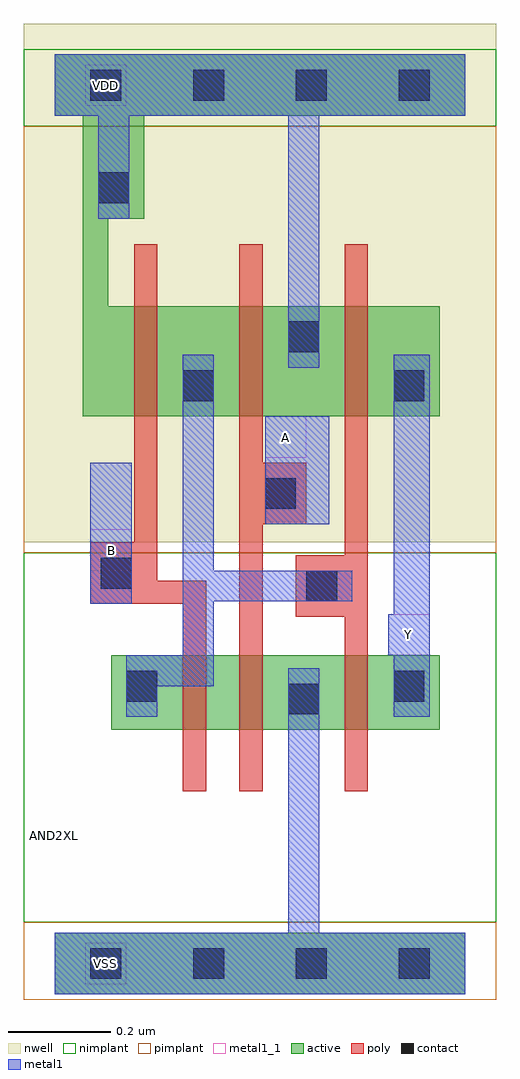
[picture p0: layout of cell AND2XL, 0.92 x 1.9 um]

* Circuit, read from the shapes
.subckt AND2XL A B VDD VSS Y
M1 n1 B n2 VSS nfet w=0.145u l=0.045u
M2 VSS A n1 VSS nfet w=0.145u l=0.045u
M3 Y n2 VSS VSS nfet w=0.145u l=0.045u
M4 n2 B VDD VDD pfet w=0.215u l=0.045u
M5 VDD A n2 VDD pfet w=0.215u l=0.045u
M6 Y n2 VDD VDD pfet w=0.215u l=0.045u
.ends

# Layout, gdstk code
import gdstk
lib = gdstk.Library(unit=1e-6, precision=5e-10)
def R(c, l, rs):  # rectangles x0, y0, x1, y1
    for r in rs: c.add(gdstk.rectangle(r[:2], r[2:], *l))
def A(c, l, x, y, w, h, nx, ny, dx, dy):  # array of equal rectangles
    R(c, l, [(x+i*dx, y+j*dy, x+i*dx+w, y+j*dy+h) for i in range(nx) for j in range(ny)])
def P(c, l, *ps):  # polygons
    for p in ps: c.add(gdstk.Polygon(p, *l))
active = (1, 0)
nwell = (2, 0)
poly = (3, 0)
nimplant = (4, 0)
pimplant = (5, 0)
contact = (6, 0)
metal1 = (7, 0)
metal1_1 = (7, 1)

and2xl = lib.new_cell('AND2XL')
R(and2xl, active, [(0,-0.06,0.8,0.06), (0.11,0.455,0.75,0.6)])
P(and2xl, active, [(0.8,1.77),(0,1.77),(0,1.65),(0.055,1.65),(0.055,1.065),(0.75,1.065),(0.75,1.28),(0.105,1.28),(0.105,1.45),(0.175,1.45),(0.175,1.65),(0.8,1.65)])
R(and2xl, nwell, [(-0.06,0.82,0.86,1.83)])
P(and2xl, poly, [(0.155,1.4),(0.2,1.4),(0.2,0.745),(0.295,0.745),(0.295,0.335),(0.25,0.335),(0.25,0.7),(0.07,0.7),(0.07,0.82),(0.155,0.82)],
  [(0.36,1.4),(0.405,1.4),(0.405,0.975),(0.49,0.975),(0.49,0.855),(0.405,0.855),(0.405,0.335),(0.36,0.335)],
  [(0.565,1.4),(0.61,1.4),(0.61,0.335),(0.565,0.335),(0.565,0.675),(0.47,0.675),(0.47,0.795),(0.565,0.795)])
R(and2xl, nimplant, [(-0.06,0.08,0.86,0.8), (-0.06,1.63,0.86,1.78)])
R(and2xl, pimplant, [(-0.06,-0.07,0.86,0.08), (-0.06,0.8,0.86,1.63)])
A(and2xl, contact, 0.07, -0.03, 0.06, 0.06, 4, 2, 0.2, 1.71)
R(and2xl, contact, [(0.455,0.485,0.515,0.545), (0.14,0.51,0.2,0.57), (0.66,0.51,0.72,0.57), (0.49,0.705,0.55,0.765), (0.09,0.73,0.15,0.79), (0.41,0.885,0.47,0.945), (0.25,1.095,0.31,1.155), (0.66,1.095,0.72,1.155), (0.455,1.19,0.515,1.25), (0.085,1.48,0.145,1.54)])
R(and2xl, metal1, [(0.07,0.7,0.15,0.975), (0.41,0.855,0.535,1.065)])
P(and2xl, metal1, [(0.455,0.575),(0.515,0.575),(0.515,0.06),(0.8,0.06),(0.8,-0.06),(0,-0.06),(0,0.06),(0.455,0.06)],
  [(0,1.77),(0.8,1.77),(0.8,1.65),(0.515,1.65),(0.515,1.16),(0.455,1.16),(0.455,1.65),(0.145,1.65),(0.145,1.45),(0.085,1.45),(0.085,1.65),(0,1.65)],
  [(0.25,1.185),(0.31,1.185),(0.31,0.765),(0.58,0.765),(0.58,0.705),(0.31,0.705),(0.31,0.54),(0.2,0.54),(0.2,0.48),(0.14,0.48),(0.14,0.6),(0.25,0.6)],
  [(0.66,1.185),(0.73,1.185),(0.73,0.48),(0.66,0.48),(0.66,0.6),(0.65,0.6),(0.65,0.68),(0.66,0.68)])
R(and2xl, metal1_1, [(0.06,-0.04,0.14,0.04), (0.65,0.6,0.73,0.68), (0.07,0.765,0.15,0.845), (0.41,0.985,0.49,1.065), (0.06,1.67,0.14,1.75)])
and2xl.add(gdstk.Label('VSS', (0.1,0), layer=7, texttype=1))
and2xl.add(gdstk.Label('Y', (0.69,0.64), layer=7, texttype=1))
and2xl.add(gdstk.Label('A', (0.45,1.025), layer=7, texttype=1))
and2xl.add(gdstk.Label('B', (0.11,0.805), layer=7, texttype=1))
and2xl.add(gdstk.Label('VDD', (0.1,1.71), layer=7, texttype=1))
and2xl.add(gdstk.Label('AND2XL', (0,0.25), layer=63, texttype=0))

lib.write_gds('AND2XL.gds')
